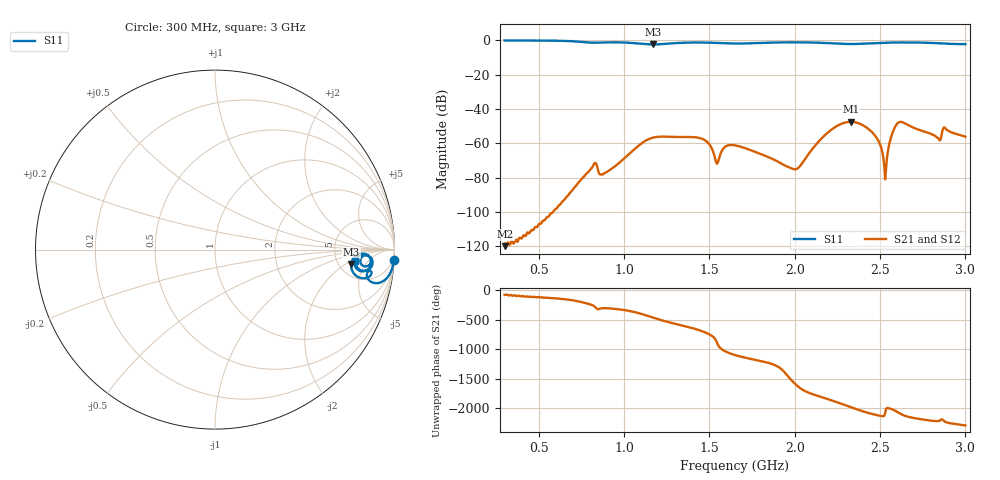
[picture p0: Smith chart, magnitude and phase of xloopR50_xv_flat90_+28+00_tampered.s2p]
! xloopR50_xv_flat90_+28+00_tampered, gap C 0.80 pF
! simulated by sim/fixtures_fdtd.py (S12 = S21, S22 not computed)
# HZ S RI R 50
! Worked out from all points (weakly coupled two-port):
!   541 points, 300 MHz to 3 GHz, reference 50 ohm
!   highest |S21| = -47.45 dB at 2.33 GHz (marker M1); lowest = -120.0 dB at 305 MHz (marker M2)
!   lowest |S11| = -2.3 dB at 1.17 GHz (marker M3), VSWR 7.45, Z = 321 - j128 ohm
!   |S11| at or under -10 dB: nowhere
!   |S22| runs from - to - dB; largest |S21 - S12| = 0
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3e8  0.9966 -0.0573  1e-07 -1.2e-06  1e-07 -1.2e-06  0 0
3.05e8  0.9964 -0.0584  1e-07 -1e-06  1e-07 -1e-06  0 0
7.5e8  0.8848 -0.1855  -8.13e-05 3.82e-05  -8.13e-05 3.82e-05  0 0
8.3e8  0.8466 -0.1345  8.31e-05 0.000256  8.31e-05 0.000256  0 0
8.85e8  0.8644 -0.1189  8.36e-05 0.000106  8.36e-05 0.000106  0 0
1.17e9  0.7588 -0.083  -0.000468 -0.00139  -0.000468 -0.00139  0 0
1.2e9  0.7679 -0.0545  -0.00111 -0.00108  -0.00111 -0.00108  0 0
1.46e9  0.865 -0.077  0.00126 0.000453  0.00126 0.000453  0 0
1.545e9  0.8404 -0.0935  -0.000254 -2.62e-05  -0.000254 -2.62e-05  0 0
1.59e9  0.8233 -0.0891  0.000527 0.000574  0.000527 0.000574  0 0
1.65e9  0.8097 -0.0686  0.000826 -0.000287  0.000826 -0.000287  0 0
2e9  0.8779 -0.0768  -0.000131 -0.000116  -0.000131 -0.000116  0 0
2.1e9  0.8633 -0.1055  0.000454 0.00047  0.000454 0.00047  0 0
2.33e9  0.7839 -0.0671  -0.00424 -4.5e-06  -0.00424 -4.5e-06  0 0
2.47e9  0.8355 -0.0272  0.000958 0.00139  0.000958 0.00139  0 0
2.53e9  0.8578 -0.0379  9.3e-06 8.87e-05  9.3e-06 8.87e-05  0 0
2.55e9  0.8633 -0.0435  -0.000741 0.000205  -0.000741 0.000205  0 0
2.585e9  0.87 -0.0555  -0.0017 0.00224  -0.0017 0.00224  0 0
2.62e9  0.8714 -0.0681  0.00148 0.00395  0.00148 0.00395  0 0
2.845e9  0.819 -0.121  0.000826 -0.00103  0.000826 -0.00103  0 0
2.88e9  0.8018 -0.1156  0.00127 -0.00255  0.00127 -0.00255  0 0
3e9  0.7779 -0.0652  -0.000931 -0.00125  -0.000931 -0.00125  0 0
